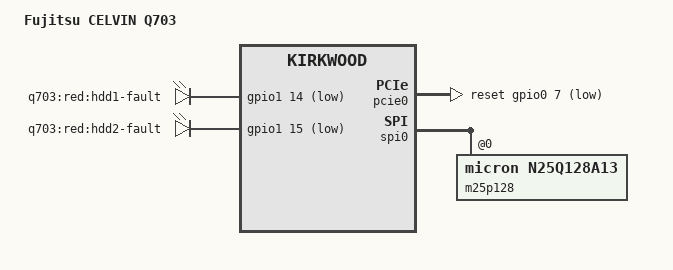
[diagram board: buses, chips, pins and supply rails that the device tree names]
// SPDX-License-Identifier: GPL-2.0
// GPIO/NOR/reset additions are Q703-tested, and have not been verified on TS-221.
// Their placement here does not establish a hardware difference.
/dts-v1/;

#include "ts221-common.dtsi"

/ {
	model = "Fujitsu CELVIN Q703";
	compatible = "fujitsu,q703", "marvell,kirkwood-88f6282",
		     "marvell,kirkwood";

	gpio-leds {
		compatible = "gpio-leds";
		pinctrl-0 = <&pmx_hdd_fault_leds>;
		pinctrl-names = "default";

		hdd1-fault {
			label = "q703:red:hdd1-fault";
			gpios = <&gpio1 14 GPIO_ACTIVE_LOW>;
			default-state = "off";
		};

		hdd2-fault {
			label = "q703:red:hdd2-fault";
			gpios = <&gpio1 15 GPIO_ACTIVE_LOW>;
			default-state = "off";
		};
	};
};

&pcie0 {
	/* Q703-tested eSATA bridge PERST#. No MPP7 pinctrl hog. */
	reset-gpios = <&gpio0 7 GPIO_ACTIVE_LOW>;
};

&pinctrl {
	pmx_hdd_fault_leds: pmx-hdd-fault-leds {
		marvell,pins = "mpp46", "mpp47";
		marvell,function = "gpio";
	};
};

&spi0 {
	m25p128@0 {
		/* Part observed on Q703; do not assume every TS-221 has it. */
		compatible = "micron,n25q128a13", "jedec,spi-nor";
	};
};
